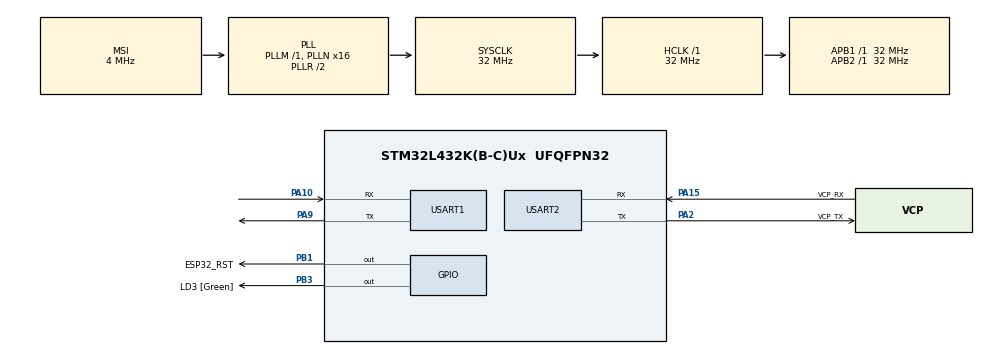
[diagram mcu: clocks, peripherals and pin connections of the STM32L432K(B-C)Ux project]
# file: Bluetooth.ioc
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IWDG.Prescaler=IWDG_PRESCALER_256
Mcu.Family=STM32L4
Mcu.Name=STM32L432K(B-C)Ux
Mcu.Package=UFQFPN32
NVIC.PriorityGroup=NVIC_PRIORITYGROUP_4
NVIC.USART1_IRQn=true\:0\:0\:false\:false\:true\:true\:true\:true
PA0.GPIO_Label=MCO [High speed clock in]
PA0.Mode=HSE-External-Clock-Source-for-LittleOrca
PA0.Signal=RCC_CK_IN
PA10.Mode=Asynchronous
PA10.Signal=USART1_RX
PA13\ (JTMS-SWDIO).GPIO_Label=SWDIO
PA13\ (JTMS-SWDIO).Mode=Serial_Wire
PA13\ (JTMS-SWDIO).Signal=SYS_JTMS-SWDIO
PA14\ (JTCK-SWCLK).GPIO_Label=SWCLK
PA14\ (JTCK-SWCLK).Mode=Serial_Wire
PA14\ (JTCK-SWCLK).Signal=SYS_JTCK-SWCLK
PA15\ (JTDI).GPIO_Label=VCP_RX
PA15\ (JTDI).Mode=Asynchronous
PA15\ (JTDI).Signal=USART2_RX
PA2.GPIO_Label=VCP_TX
PA2.Mode=Asynchronous
PA2.Signal=USART2_TX
PA9.Mode=Asynchronous
PA9.Signal=USART1_TX
PB1.GPIO_Label=ESP32_RST
PB1.PinState=GPIO_PIN_SET
PB1.Signal=GPIO_Output
PB3\ (JTDO-TRACESWO).GPIO_Label=LD3 [Green]
PB3\ (JTDO-TRACESWO).Signal=GPIO_Output
PC14-OSC32_IN\ (PC14).Mode=LSE-External-Oscillator
PC14-OSC32_IN\ (PC14).Signal=RCC_OSC32_IN
PC15-OSC32_OUT\ (PC15).Mode=LSE-External-Oscillator
PC15-OSC32_OUT\ (PC15).Signal=RCC_OSC32_OUT
ProjectManager.HeapSize=0x200
ProjectManager.StackSize=0x400
ProjectManager.TargetToolchain=MDK-ARM V5.32
RCC.AHBFreq_Value=32000000
RCC.APB1Freq_Value=32000000
RCC.APB1TimFreq_Value=32000000
RCC.APB2Freq_Value=32000000
RCC.APB2TimFreq_Value=32000000
RCC.CortexFreq_Value=32000000
RCC.HCLKFreq_Value=32000000
RCC.HSE_VALUE=8000000
RCC.HSI16_VALUE=16000000
RCC.HSI48_VALUE=48000000
RCC.HSI_VALUE=16000000
RCC.MSI_VALUE=4000000
RCC.PLLMUL=RCC_PLLMUL_4
RCC.PLLN=16
RCC.SYSCLKFreq_VALUE=32000000
RCC.SYSCLKSource=RCC_SYSCLKSOURCE_PLLCLK
RCC.VCOOutputFreq_Value=64000000
USART1.VirtualMode-Asynchronous=VM_ASYNC
USART2.VirtualMode-Asynchronous=VM_ASYNC
VP_IWDG_VS_IWDG.Mode=IWDG_Activate
board=NUCLEO-L432KC

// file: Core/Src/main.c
/* USER CODE BEGIN Header */
/**
  ******************************************************************************
  * @file           : main.c
  * @brief          : Main program body
  ******************************************************************************
  * @attention
  *
  * Copyright (c) 2024 STMicroelectronics.
  * All rights reserved.
  *
  * This software is licensed under terms that can be found in the LICENSE file
  * in the root directory of this software component.
  * If no LICENSE file comes with this software, it is provided AS-IS.
  *
  ******************************************************************************
  */
/* USER CODE END Header */
#include "main.h"

/* USER CODE BEGIN Includes */
#include "stdlib.h"
#include "string.h"
#include "../../MDK-ARM/usart1.h"
#include "../../MDK-ARM/usart2.h"
#include "stdio.h"
#include "../../MDK-ARM/circularBuffer.h"
/* USER CODE END Includes */

IWDG_HandleTypeDef hiwdg;

UART_HandleTypeDef huart1;
UART_HandleTypeDef huart2;

/* USER CODE BEGIN PV */
static volatile enum UsartState usart1State =	idle;
// Verwijzing maken naar een circulair buffer dat alle binnenkomende data van de ESP-module opslaat.
extern volatile CircularBuffer circularBuffer;
extern enum CircularBufferActionResult circularBufferActionResult;
static uint8_t leds = 0, numberOfReceivedBytes = 0;

static volatile uint8_t receivedUsart1Data = 0;
/* USER CODE END PV */

void SystemClock_Config(void);
static void MX_GPIO_Init(void);
static void MX_IWDG_Init(void);
static void MX_USART1_UART_Init(void);
static void MX_USART2_UART_Init(void);

int main(void)
{

  /* MCU Configuration--------------------------------------------------------*/

  /* Reset of all peripherals, Initializes the Flash interface and the Systick. */
  HAL_Init();

  /* Configure the system clock */
  SystemClock_Config();

  /* Initialize all configured peripherals */
  MX_GPIO_Init();
  MX_IWDG_Init();
  MX_USART1_UART_Init();
  MX_USART2_UART_Init();
  /* USER CODE BEGIN 2 */
	// Laten weten dat we opgestart zijn, via de USART2 (USB).
	printf("Reboot\r\n");
	// Circulaire buffer initialiseren.
	if(InitCircularBuffer(&circularBuffer) != initSucceeded)
		printf("Initialization of CircularBuffer failed!\r\n");

	// WiFi-module tijd geven om op te starten.
	HAL_Delay(1000);

	// Ontvangst van ИИn byte via interrupts starten (voor de ESP32-module).
	HAL_UART_Receive_IT(&huart1, (uint8_t*)&receivedUsart1Data, 1);

	/*
	https://docs.espressif.com/projects/esp-at/en/latest/esp32c3/AT_Command_Set/BLE_AT_Commands.html#cmd-badvstart
	*/

		// Reset watchdog
    HAL_IWDG_Refresh(&hiwdg);

		// zet esp module in AT mode en test communicatie
    StringToUsart1("AT\r\n");
    while(!LookForString1(&circularBuffer, "OK\r\n"));
    HAL_Delay(100);

    // Reset esp module
    StringToUsart1("AT+RST\r\n");
    while(!LookForString1(&circularBuffer, "ready\r\n"));
    HAL_Delay(1000);
		HAL_IWDG_Refresh(&hiwdg);

		// Initialiseer BLE als GATT-server
		StringToUsart1("AT+BLEINIT=2\r\n");
    while(!LookForString1(&circularBuffer, "OK\r\n"));
		HAL_Delay(100);

    // GATT-server aanmaken
    StringToUsart1("AT+BLEGATTSSRVCRE\r\n");
    while(!LookForString1(&circularBuffer, "OK\r\n"));
		HAL_Delay(100);

	  // GATT-server starten
    StringToUsart1("AT+BLEGATTSSRVSTART\r\n");
    while(!LookForString1(&circularBuffer, "OK\r\n"));
		HAL_Delay(100);

		// BLENAME instellen werkt niet... naam ingesteld in BLEADVDATA
//    StringToUsart1("AT+BLENAME=\"GlucoseMeter\"\r\n");
//    while(!LookForString1(&circularBuffer, "OK\r\n"));
//		HAL_Delay(100);

		//AT+BLEADVDATA: Set Bluetooth LE Advertising Data
		/*AT+BLEADVDATAEX=<dev_name>,<uuid>,<manufacturer_data>,<include_power>
		dev_name = GlucoseMeter  				# dit is de naam die je ziet om het toestel te vinden
		uuid= 00A2 											# Ziet er in bluetooth app anders uit?
		manufacturer_data= 5669766573 	# heximaal Vives
		include_power= 1 								# zendkracht mag ook 0 zijn
		*/
		StringToUsart1("AT+BLEADVDATAEX=\"GlucoseMeter\",\"00A2\",\"5669766573\",1\r\n");
    while(!LookForString1(&circularBuffer, "OK\r\n"));
		HAL_Delay(100);

    // BLEADVDATA opvragen
//    StringToUsart1("AT+BLEADVDATAEX?\r\n");
//    while(!LookForString1(&circularBuffer, "OK\r\n"));
//		HAL_Delay(100);

    // Advertentie starten
    StringToUsart1("AT+BLEADVSTART\r\n");
    while(!LookForString1(&circularBuffer, "OK\r\n"));
		HAL_Delay(100);

		// List services on GATT Server:
    StringToUsart1("AT+BLEGATTSCHAR?\r\n");
    //while(!LookForString1(&circularBuffer, "OK\r\n"));
		HAL_Delay(100);

		// List characteristics on GATT Server:
    StringToUsart1("AT+BLEGATTSSRV?\r\n");
    //while(!LookForString1(&circularBuffer, "OK\r\n"));
		HAL_Delay(100);

		// Set one byte of first characteristic at first service
    StringToUsart1("AT+BLEGATTSSETATTR=1,1,,1\r\n");
    //while(!LookForString1(&circularBuffer, "OK\r\n"));
		HAL_Delay(100);

		// Karakteristiek toevoegen aan de GATT-service
//		StringToUsart1("AT+BLEGATTSCHAR:0x0001,0xFFF1,0x02,0x01,10\r\n");
//		while(!LookForString1(&circularBuffer, "OK\r\n"));
//		HAL_Delay(1000);

  /* USER CODE END 2 */

  /* Infinite loop */
  /* USER CODE BEGIN WHILE */
  while (1)
  {
		//watchdog timer resetten.
		HAL_IWDG_Refresh(&hiwdg);
    /* USER CODE END WHILE */

  }
}

void SystemClock_Config(void)
{
  RCC_OscInitTypeDef RCC_OscInitStruct = {0};
  RCC_ClkInitTypeDef RCC_ClkInitStruct = {0};

  /** Configure the main internal regulator output voltage
  */
  if (HAL_PWREx_ControlVoltageScaling(PWR_REGULATOR_VOLTAGE_SCALE1) != HAL_OK)
  {
    Error_Handler();
  }

  /** Configure LSE Drive Capability
  */
  HAL_PWR_EnableBkUpAccess();
  __HAL_RCC_LSEDRIVE_CONFIG(RCC_LSEDRIVE_LOW);

  /** Initializes the RCC Oscillators according to the specified parameters
  * in the RCC_OscInitTypeDef structure.
  */
  RCC_OscInitStruct.OscillatorType = RCC_OSCILLATORTYPE_LSI|RCC_OSCILLATORTYPE_LSE
                              |RCC_OSCILLATORTYPE_MSI;
  RCC_OscInitStruct.LSEState = RCC_LSE_ON;
  RCC_OscInitStruct.LSIState = RCC_LSI_ON;
  RCC_OscInitStruct.MSIState = RCC_MSI_ON;
  RCC_OscInitStruct.MSICalibrationValue = 0;
  RCC_OscInitStruct.MSIClockRange = RCC_MSIRANGE_6;
  RCC_OscInitStruct.PLL.PLLState = RCC_PLL_ON;
  RCC_OscInitStruct.PLL.PLLSource = RCC_PLLSOURCE_MSI;
  RCC_OscInitStruct.PLL.PLLM = 1;
  RCC_OscInitStruct.PLL.PLLN = 16;
  RCC_OscInitStruct.PLL.PLLP = RCC_PLLP_DIV7;
  RCC_OscInitStruct.PLL.PLLQ = RCC_PLLQ_DIV2;
  RCC_OscInitStruct.PLL.PLLR = RCC_PLLR_DIV2;
  if (HAL_RCC_OscConfig(&RCC_OscInitStruct) != HAL_OK)
  {
    Error_Handler();
  }

  /** Initializes the CPU, AHB and APB buses clocks
  */
  RCC_ClkInitStruct.ClockType = RCC_CLOCKTYPE_HCLK|RCC_CLOCKTYPE_SYSCLK
                              |RCC_CLOCKTYPE_PCLK1|RCC_CLOCKTYPE_PCLK2;
  RCC_ClkInitStruct.SYSCLKSource = RCC_SYSCLKSOURCE_PLLCLK;
  RCC_ClkInitStruct.AHBCLKDivider = RCC_SYSCLK_DIV1;
  RCC_ClkInitStruct.APB1CLKDivider = RCC_HCLK_DIV1;
  RCC_ClkInitStruct.APB2CLKDivider = RCC_HCLK_DIV1;

  if (HAL_RCC_ClockConfig(&RCC_ClkInitStruct, FLASH_LATENCY_1) != HAL_OK)
  {
    Error_Handler();
  }

  /** Enable MSI Auto calibration
  */
  HAL_RCCEx_EnableMSIPLLMode();
}

static void MX_IWDG_Init(void)
{

  hiwdg.Instance = IWDG;
  hiwdg.Init.Prescaler = IWDG_PRESCALER_256;
  hiwdg.Init.Window = 4095;
  hiwdg.Init.Reload = 4095;
  if (HAL_IWDG_Init(&hiwdg) != HAL_OK)
  {
    Error_Handler();
  }

}

static void MX_USART1_UART_Init(void)
{

  huart1.Instance = USART1;
  huart1.Init.BaudRate = 115200;
  huart1.Init.WordLength = UART_WORDLENGTH_8B;
  huart1.Init.StopBits = UART_STOPBITS_1;
  huart1.Init.Parity = UART_PARITY_NONE;
  huart1.Init.Mode = UART_MODE_TX_RX;
  huart1.Init.HwFlowCtl = UART_HWCONTROL_NONE;
  huart1.Init.OverSampling = UART_OVERSAMPLING_16;
  huart1.Init.OneBitSampling = UART_ONE_BIT_SAMPLE_DISABLE;
  huart1.AdvancedInit.AdvFeatureInit = UART_ADVFEATURE_NO_INIT;
  if (HAL_UART_Init(&huart1) != HAL_OK)
  {
    Error_Handler();
  }

}

static void MX_USART2_UART_Init(void)
{

  huart2.Instance = USART2;
  huart2.Init.BaudRate = 115200;
  huart2.Init.WordLength = UART_WORDLENGTH_8B;
  huart2.Init.StopBits = UART_STOPBITS_1;
  huart2.Init.Parity = UART_PARITY_NONE;
  huart2.Init.Mode = UART_MODE_TX_RX;
  huart2.Init.HwFlowCtl = UART_HWCONTROL_NONE;
  huart2.Init.OverSampling = UART_OVERSAMPLING_16;
  huart2.Init.OneBitSampling = UART_ONE_BIT_SAMPLE_DISABLE;
  huart2.AdvancedInit.AdvFeatureInit = UART_ADVFEATURE_NO_INIT;
  if (HAL_UART_Init(&huart2) != HAL_OK)
  {
    Error_Handler();
  }

}

static void MX_GPIO_Init(void)
{
  GPIO_InitTypeDef GPIO_InitStruct = {0};

  /* GPIO Ports Clock Enable */
  __HAL_RCC_GPIOC_CLK_ENABLE();
  __HAL_RCC_GPIOA_CLK_ENABLE();
  __HAL_RCC_GPIOB_CLK_ENABLE();

  /*Configure GPIO pin Output Level */
  HAL_GPIO_WritePin(ESP32_RST_GPIO_Port, ESP32_RST_Pin, GPIO_PIN_SET);

  /*Configure GPIO pin Output Level */
  HAL_GPIO_WritePin(LD3_GPIO_Port, LD3_Pin, GPIO_PIN_RESET);

  /*Configure GPIO pins : ESP32_RST_Pin LD3_Pin */
  GPIO_InitStruct.Pin = ESP32_RST_Pin|LD3_Pin;
  GPIO_InitStruct.Mode = GPIO_MODE_OUTPUT_PP;
  GPIO_InitStruct.Pull = GPIO_NOPULL;
  GPIO_InitStruct.Speed = GPIO_SPEED_FREQ_LOW;
  HAL_GPIO_Init(GPIOB, &GPIO_InitStruct);

}

/* USER CODE BEGIN 4 */
// Code hieronder wordt opgeroepen als alle data van HAL_UART_Receive_IT(() ontvangen is...
// Deze functie wordt opgeroepen vanuit HAL_UART_IRQHandler().
// De data is afkomstig van de ESP01-C3-module.
// Alle data wordt opgeslaan in de globale variabele 'circularBuffer', die gedefinieerd is in circularBuffer.c.
void HAL_UART_RxCpltCallback(UART_HandleTypeDef *UartHandle)
{
	// Is het data van UART1?
	if(UartHandle->Instance == USART1)
	{
		// Byte versturen op USART2 (USB) zodat je ook op de computer kan meevolgen. Dit is niet verplicht, maar vergemakkelijkt het debuggen.
		// Let op: zorg voor een timeout van 0, anders kan de code hier te traag verlopen en problemen bezorgen op UART1.
		HAL_UART_Transmit(&huart2, (uint8_t *)&receivedUsart1Data, 1, 0);
//		// Indien timing problemen, zou onderstaande kunnen helpen...
//		huart2.Instance->TDR = (uint8_t)receivedUsart1Data;

		// Ontvangen data opslaan in een circulair buffer.
		// Het circulair buffer zorgt ervoor dat er geen bytes misgelopen raken. Je kan daarna in de hoofdlus 'rustig aan' alle
		// ontvangen data gaan verwerken...
		if(usart1State == busyReceiving)
		{
			// Is er nog plaats in het buffer?
			if(!IsCircularBufferFull(&circularBuffer))
			{
				// Karakter opslaan.
				PushCharToCircularBuffer(&circularBuffer, receivedUsart1Data);

				// Nieuwe lijn ontvangen. Geef aan dat je klaar bent voor een volgende lijn...
				if(receivedUsart1Data == '\n')
						usart1State = idle;
			}
		}
		else
		{
			// Start van de ontvangst/lijn.
			if(usart1State == idle)
			{
				// Is er nog plaats in het buffer?
				if(!IsCircularBufferFull(&circularBuffer))
				{
					// Buffer nog niet vol. Begin met opslaan in de circulaire buffer.
					usart1State = busyReceiving;

					// Karakter opslaan.
					PushCharToCircularBuffer(&circularBuffer, receivedUsart1Data);

					// Nieuwe lijn ontvangen. Geef aan dat je klaar bent voor een volgende lijn...
					if(receivedUsart1Data == '\n')
						usart1State = idle;
					else
					{
						// Na het versturen van het 'AT+CIPSEND'- of een 'MQTTPUBRAW'-command, moet er gewacht worden op het '>'-karakter. Detecteer
						// de ontvangst van dat karakter hier. Voeg automatisch een "\r\n" toe om zo geforceerd een nieuwe lijn in het circulair buffer
						// aan te maken. Hierdoor kan de data uit dat buffer, gemakkelijker verwerkt worden.
						if(receivedUsart1Data == '>')
						{
							// Geforceerd extra lijn opslaan met ">\r\n".
							PushCharToCircularBuffer(&circularBuffer, '\r');
							PushCharToCircularBuffer(&circularBuffer, '\n');

							usart1State = idle;
						}
					}
				}
			}
		}

		// Ontvangst via interrupts opnieuw starten. Want RXNEIE wordt automatisch uitgeschakeld.
		HAL_UART_Receive_IT(&huart1, (uint8_t*)&receivedUsart1Data, 1);
	}
}
/* USER CODE END 4 */

void Error_Handler(void)
{
  __disable_irq();
  while (1)
  {
  }
}
